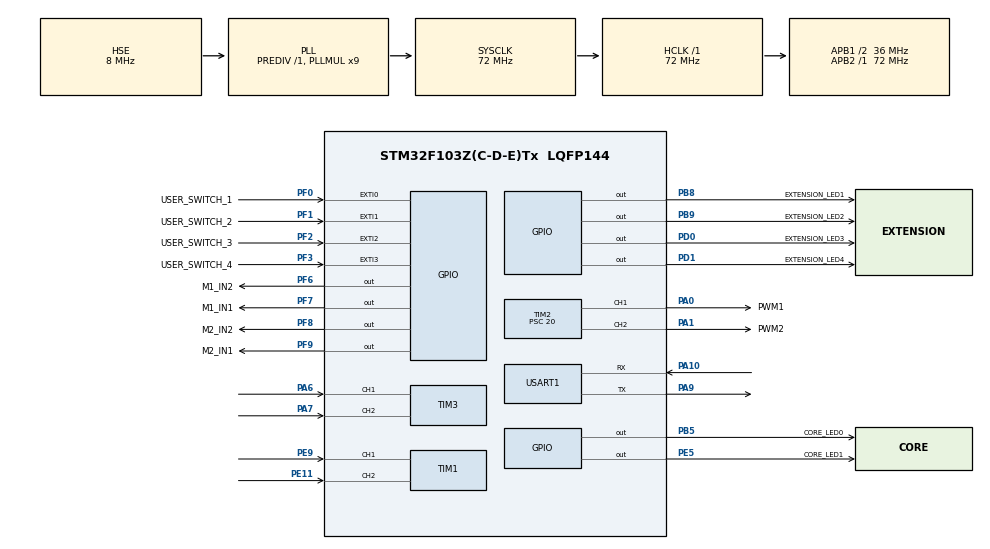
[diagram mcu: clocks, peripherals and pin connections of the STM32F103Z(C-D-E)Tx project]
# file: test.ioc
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Dma.Request0=USART1_RX
Dma.Request1=USART1_TX
Dma.USART1_RX.0.Direction=DMA_PERIPH_TO_MEMORY
Dma.USART1_RX.0.Instance=DMA1_Channel5
Dma.USART1_RX.0.MemDataAlignment=DMA_MDATAALIGN_BYTE
Dma.USART1_RX.0.MemInc=DMA_MINC_ENABLE
Dma.USART1_RX.0.Mode=DMA_CIRCULAR
Dma.USART1_RX.0.PeriphDataAlignment=DMA_PDATAALIGN_BYTE
Dma.USART1_RX.0.PeriphInc=DMA_PINC_DISABLE
Dma.USART1_RX.0.Priority=DMA_PRIORITY_HIGH
Dma.USART1_TX.1.Direction=DMA_MEMORY_TO_PERIPH
Dma.USART1_TX.1.Instance=DMA1_Channel4
Dma.USART1_TX.1.MemDataAlignment=DMA_MDATAALIGN_BYTE
Dma.USART1_TX.1.MemInc=DMA_MINC_ENABLE
Dma.USART1_TX.1.Mode=DMA_NORMAL
Dma.USART1_TX.1.PeriphDataAlignment=DMA_PDATAALIGN_BYTE
Dma.USART1_TX.1.PeriphInc=DMA_PINC_DISABLE
Dma.USART1_TX.1.Priority=DMA_PRIORITY_HIGH
IWDG.Prescaler=IWDG_PRESCALER_256
Mcu.Family=STM32F1
Mcu.Name=STM32F103Z(C-D-E)Tx
Mcu.Package=LQFP144
NVIC.DMA1_Channel4_IRQn=true\:0\:0\:false\:false\:true\:false\:true\:true
NVIC.DMA1_Channel5_IRQn=true\:0\:0\:false\:false\:true\:false\:true\:true
NVIC.EXTI0_IRQn=true\:0\:0\:false\:false\:true\:true\:true\:true
NVIC.EXTI1_IRQn=true\:0\:0\:false\:false\:true\:true\:true\:true
NVIC.EXTI2_IRQn=true\:0\:0\:false\:false\:true\:true\:true\:true
NVIC.EXTI3_IRQn=true\:0\:0\:false\:false\:true\:true\:true\:true
NVIC.PriorityGroup=NVIC_PRIORITYGROUP_4
NVIC.USART1_IRQn=true\:0\:0\:false\:false\:true\:true\:true\:true
OSC_IN.Mode=HSE-External-Oscillator
OSC_IN.Signal=RCC_OSC_IN
OSC_OUT.Mode=HSE-External-Oscillator
OSC_OUT.Signal=RCC_OSC_OUT
PA0-WKUP.GPIO_Label=PWM1
PA0-WKUP.Signal=S_TIM2_CH1_ETR
PA1.GPIO_Label=PWM2
PA1.Signal=S_TIM2_CH2
PA10.Mode=Asynchronous
PA10.Signal=USART1_RX
PA13.Mode=Serial_Wire
PA13.Signal=SYS_JTMS-SWDIO
PA14.Mode=Serial_Wire
PA14.Signal=SYS_JTCK-SWCLK
PA6.Signal=S_TIM3_CH1
PA7.Signal=S_TIM3_CH2
PA9.Mode=Asynchronous
PA9.Signal=USART1_TX
PB5.GPIO_Label=CORE_LED0
PB5.Signal=GPIO_Output
PB8.GPIO_Label=EXTENSION_LED1
PB8.GPIO_ModeDefaultOutputPP=GPIO_MODE_OUTPUT_OD
PB8.GPIO_PuPd=GPIO_NOPULL
PB8.Signal=GPIO_Output
PB9.GPIO_Label=EXTENSION_LED2
PB9.GPIO_ModeDefaultOutputPP=GPIO_MODE_OUTPUT_OD
PB9.GPIO_PuPd=GPIO_NOPULL
PB9.Signal=GPIO_Output
PC14-OSC32_IN.Mode=LSE-External-Oscillator
PC14-OSC32_IN.Signal=RCC_OSC32_IN
PC15-OSC32_OUT.Mode=LSE-External-Oscillator
PC15-OSC32_OUT.Signal=RCC_OSC32_OUT
PD0.GPIO_Label=EXTENSION_LED3
PD0.GPIO_ModeDefaultOutputPP=GPIO_MODE_OUTPUT_OD
PD0.GPIO_PuPd=GPIO_NOPULL
PD0.Signal=GPIO_Output
PD1.GPIO_Label=EXTENSION_LED4
PD1.GPIO_ModeDefaultOutputPP=GPIO_MODE_OUTPUT_OD
PD1.GPIO_PuPd=GPIO_NOPULL
PD1.Signal=GPIO_Output
PE11.Signal=S_TIM1_CH2
PE5.GPIO_Label=CORE_LED1
PE5.Signal=GPIO_Output
PE9.Signal=S_TIM1_CH1
PF0.GPIO_Label=USER_SWITCH_1
PF0.GPIO_ModeDefaultEXTI=GPIO_MODE_IT_FALLING
PF0.Signal=GPXTI0
PF1.GPIO_Label=USER_SWITCH_2
PF1.GPIO_ModeDefaultEXTI=GPIO_MODE_IT_FALLING
PF1.Signal=GPXTI1
PF2.GPIO_Label=USER_SWITCH_3
PF2.GPIO_ModeDefaultEXTI=GPIO_MODE_IT_FALLING
PF2.Signal=GPXTI2
PF3.GPIO_Label=USER_SWITCH_4
PF3.GPIO_ModeDefaultEXTI=GPIO_MODE_IT_FALLING
PF3.Signal=GPXTI3
PF6.GPIO_Label=M1_IN2
PF6.PinState=GPIO_PIN_RESET
PF6.Signal=GPIO_Output
PF7.GPIO_Label=M1_IN1
PF7.PinState=GPIO_PIN_RESET
PF7.Signal=GPIO_Output
PF8.GPIO_Label=M2_IN2
PF8.PinState=GPIO_PIN_RESET
PF8.Signal=GPIO_Output
PF9.GPIO_Label=M2_IN1
PF9.PinState=GPIO_PIN_RESET
PF9.Signal=GPIO_Output
ProjectManager.HeapSize=0x1000
ProjectManager.StackSize=0x800
ProjectManager.TargetToolchain=MDK-ARM V5.32
RCC.AHBFreq_Value=72000000
RCC.APB1CLKDivider=RCC_HCLK_DIV2
RCC.APB1Freq_Value=36000000
RCC.APB1TimFreq_Value=72000000
RCC.APB2Freq_Value=72000000
RCC.APB2TimFreq_Value=72000000
RCC.HCLKFreq_Value=72000000
RCC.PLLMUL=RCC_PLL_MUL9
RCC.PLLSourceVirtual=RCC_PLLSOURCE_HSE
RCC.SYSCLKFreq_VALUE=72000000
RCC.SYSCLKSource=RCC_SYSCLKSOURCE_PLLCLK
RCC.USBFreq_Value=72000000
SH.S_TIM1_CH1.0=TIM1_CH1,Encoder_Interface
SH.S_TIM1_CH2.0=TIM1_CH2,Encoder_Interface
SH.S_TIM2_CH1_ETR.0=TIM2_CH1,PWM Generation1 CH1
SH.S_TIM2_CH2.0=TIM2_CH2,PWM Generation2 CH2
SH.S_TIM3_CH1.0=TIM3_CH1,Encoder_Interface
SH.S_TIM3_CH2.0=TIM3_CH2,Encoder_Interface
TIM1.CounterMode=TIM_COUNTERMODE_UP
TIM2.AutoReloadPreload=TIM_AUTORELOAD_PRELOAD_ENABLE
TIM2.Channel-PWM\ Generation1\ CH1=TIM_CHANNEL_1
TIM2.Channel-PWM\ Generation2\ CH2=TIM_CHANNEL_2
TIM2.OCFastMode_PWM-PWM\ Generation1\ CH1=TIM_OCFAST_ENABLE
TIM2.OCFastMode_PWM-PWM\ Generation2\ CH2=TIM_OCFAST_ENABLE
TIM2.OCMode_PWM-PWM\ Generation1\ CH1=TIM_OCMODE_PWM1
TIM2.OCMode_PWM-PWM\ Generation2\ CH2=TIM_OCMODE_PWM1
TIM2.Period=3600
TIM2.Prescaler=20
TIM2.Pulse-PWM\ Generation1\ CH1=1800
TIM2.Pulse-PWM\ Generation2\ CH2=1800
TIM3.CounterMode=TIM_COUNTERMODE_UP
USART1.VirtualMode=VM_ASYNC
VP_IWDG_VS_IWDG.Mode=IWDG_Activate
VP_TIM2_VS_ClockSourceINT.Mode=Internal
board=custom

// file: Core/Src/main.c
/* USER CODE BEGIN Header */
/**
  ******************************************************************************
  * @file           : main.c
  * @brief          : Main program body
  ******************************************************************************
  * @attention
  *
  * Copyright (c) 2023 STMicroelectronics.
  * All rights reserved.
  *
  * This software is licensed under terms that can be found in the LICENSE file
  * in the root directory of this software component.
  * If no LICENSE file comes with this software, it is provided AS-IS.
  *
  ******************************************************************************
  */
/* USER CODE END Header */
#include "main.h"

/* USER CODE BEGIN Includes */
#include <stdbool.h>
#include "motor.h"
#include "ros_main.h"

/* USER CODE END Includes */

IWDG_HandleTypeDef hiwdg;

TIM_HandleTypeDef htim1;
TIM_HandleTypeDef htim2;
TIM_HandleTypeDef htim3;

UART_HandleTypeDef huart1;
DMA_HandleTypeDef hdma_usart1_rx;
DMA_HandleTypeDef hdma_usart1_tx;

/* USER CODE BEGIN PV */
motor_group_config_t motor_config;

/* USER CODE END PV */

void SystemClock_Config(void);
static void MX_GPIO_Init(void);
static void MX_DMA_Init(void);
static void MX_TIM2_Init(void);
static void MX_TIM1_Init(void);
static void MX_TIM3_Init(void);
static void MX_USART1_UART_Init(void);
static void MX_IWDG_Init(void);

int main(void)
{
  /* USER CODE BEGIN 1 */
	motor_config_t left_motor_config = {
		.in1port = M1_IN1_GPIO_Port,
		.in2port = M1_IN2_GPIO_Port,
		.enport = PWM1_GPIO_Port,
		.in1pin = M1_IN1_Pin,
		.in2pin = M1_IN2_Pin,
		.enpin  = PWM1_Pin,

		.htim_encoder = &htim1,
		.htim_pwm = &htim2,
		.channel = TIM_CHANNEL_1,
		.reversed = false,
	};

	motor_config_t right_motor_config = {
		.in1port = M2_IN1_GPIO_Port,
		.in2port = M2_IN2_GPIO_Port,
		.enport = PWM2_GPIO_Port,
		.in1pin = M2_IN1_Pin,
		.in2pin = M2_IN2_Pin,
		.enpin  = PWM2_Pin,

		.htim_encoder = &htim3,
		.htim_pwm = &htim2,
		.channel = TIM_CHANNEL_2,
		.reversed = true,
	};

	motor_config.right = &left_motor_config;
	motor_config.left = &right_motor_config;

  /* USER CODE END 1 */

  /* MCU Configuration--------------------------------------------------------*/

  /* Reset of all peripherals, Initializes the Flash interface and the Systick. */
  HAL_Init();

  /* Configure the system clock */
  SystemClock_Config();

  /* Initialize all configured peripherals */
  MX_GPIO_Init();
  MX_DMA_Init();
  MX_TIM2_Init();
  MX_TIM1_Init();
  MX_TIM3_Init();
  MX_USART1_UART_Init();
  MX_IWDG_Init();
  /* USER CODE BEGIN 2 */

	HAL_TIM_PWM_Start(&htim2, TIM_CHANNEL_1);
	HAL_TIM_PWM_Start(&htim2, TIM_CHANNEL_2);
	HAL_TIM_Encoder_Start(&htim1, TIM_CHANNEL_ALL);
	HAL_TIM_Encoder_Start(&htim3, TIM_CHANNEL_ALL);
	// __HAL_TIM_SetCompare(&htim2, TIM_CHANNEL_1, 1800);
	// __HAL_TIM_SetCompare(&htim2, TIM_CHANNEL_2, 1800);
	// motor_set_direction(motor_config.left, MOTOR_DIRECTION_FORWARD);
	// motor_set_direction(motor_config.right, MOTOR_DIRECTION_FORWARD);

	setup();

  /* USER CODE END 2 */

  /* Infinite loop */
  /* USER CODE BEGIN WHILE */
  while (1)
  {
		loop();

    /* USER CODE END WHILE */

  }
}

void SystemClock_Config(void)
{
  RCC_OscInitTypeDef RCC_OscInitStruct = {0};
  RCC_ClkInitTypeDef RCC_ClkInitStruct = {0};

  /** Initializes the RCC Oscillators according to the specified parameters
  * in the RCC_OscInitTypeDef structure.
  */
  RCC_OscInitStruct.OscillatorType = RCC_OSCILLATORTYPE_LSI|RCC_OSCILLATORTYPE_HSE;
  RCC_OscInitStruct.HSEState = RCC_HSE_ON;
  RCC_OscInitStruct.HSEPredivValue = RCC_HSE_PREDIV_DIV1;
  RCC_OscInitStruct.HSIState = RCC_HSI_ON;
  RCC_OscInitStruct.LSIState = RCC_LSI_ON;
  RCC_OscInitStruct.PLL.PLLState = RCC_PLL_ON;
  RCC_OscInitStruct.PLL.PLLSource = RCC_PLLSOURCE_HSE;
  RCC_OscInitStruct.PLL.PLLMUL = RCC_PLL_MUL9;
  if (HAL_RCC_OscConfig(&RCC_OscInitStruct) != HAL_OK)
  {
    Error_Handler();
  }

  /** Initializes the CPU, AHB and APB buses clocks
  */
  RCC_ClkInitStruct.ClockType = RCC_CLOCKTYPE_HCLK|RCC_CLOCKTYPE_SYSCLK
                              |RCC_CLOCKTYPE_PCLK1|RCC_CLOCKTYPE_PCLK2;
  RCC_ClkInitStruct.SYSCLKSource = RCC_SYSCLKSOURCE_PLLCLK;
  RCC_ClkInitStruct.AHBCLKDivider = RCC_SYSCLK_DIV1;
  RCC_ClkInitStruct.APB1CLKDivider = RCC_HCLK_DIV2;
  RCC_ClkInitStruct.APB2CLKDivider = RCC_HCLK_DIV1;

  if (HAL_RCC_ClockConfig(&RCC_ClkInitStruct, FLASH_LATENCY_2) != HAL_OK)
  {
    Error_Handler();
  }
}

static void MX_IWDG_Init(void)
{

  hiwdg.Instance = IWDG;
  hiwdg.Init.Prescaler = IWDG_PRESCALER_256;
  hiwdg.Init.Reload = 4095;
  if (HAL_IWDG_Init(&hiwdg) != HAL_OK)
  {
    Error_Handler();
  }

}

static void MX_TIM1_Init(void)
{

  TIM_Encoder_InitTypeDef sConfig = {0};
  TIM_MasterConfigTypeDef sMasterConfig = {0};

  htim1.Instance = TIM1;
  htim1.Init.Prescaler = 0;
  htim1.Init.CounterMode = TIM_COUNTERMODE_UP;
  htim1.Init.Period = 65535;
  htim1.Init.ClockDivision = TIM_CLOCKDIVISION_DIV1;
  htim1.Init.RepetitionCounter = 0;
  htim1.Init.AutoReloadPreload = TIM_AUTORELOAD_PRELOAD_DISABLE;
  sConfig.EncoderMode = TIM_ENCODERMODE_TI1;
  sConfig.IC1Polarity = TIM_ICPOLARITY_RISING;
  sConfig.IC1Selection = TIM_ICSELECTION_DIRECTTI;
  sConfig.IC1Prescaler = TIM_ICPSC_DIV1;
  sConfig.IC1Filter = 0;
  sConfig.IC2Polarity = TIM_ICPOLARITY_RISING;
  sConfig.IC2Selection = TIM_ICSELECTION_DIRECTTI;
  sConfig.IC2Prescaler = TIM_ICPSC_DIV1;
  sConfig.IC2Filter = 0;
  if (HAL_TIM_Encoder_Init(&htim1, &sConfig) != HAL_OK)
  {
    Error_Handler();
  }
  sMasterConfig.MasterOutputTrigger = TIM_TRGO_RESET;
  sMasterConfig.MasterSlaveMode = TIM_MASTERSLAVEMODE_DISABLE;
  if (HAL_TIMEx_MasterConfigSynchronization(&htim1, &sMasterConfig) != HAL_OK)
  {
    Error_Handler();
  }

}

static void MX_TIM2_Init(void)
{

  TIM_ClockConfigTypeDef sClockSourceConfig = {0};
  TIM_MasterConfigTypeDef sMasterConfig = {0};
  TIM_OC_InitTypeDef sConfigOC = {0};

  htim2.Instance = TIM2;
  htim2.Init.Prescaler = 20;
  htim2.Init.CounterMode = TIM_COUNTERMODE_UP;
  htim2.Init.Period = 3600;
  htim2.Init.ClockDivision = TIM_CLOCKDIVISION_DIV1;
  htim2.Init.AutoReloadPreload = TIM_AUTORELOAD_PRELOAD_ENABLE;
  if (HAL_TIM_Base_Init(&htim2) != HAL_OK)
  {
    Error_Handler();
  }
  sClockSourceConfig.ClockSource = TIM_CLOCKSOURCE_INTERNAL;
  if (HAL_TIM_ConfigClockSource(&htim2, &sClockSourceConfig) != HAL_OK)
  {
    Error_Handler();
  }
  if (HAL_TIM_PWM_Init(&htim2) != HAL_OK)
  {
    Error_Handler();
  }
  sMasterConfig.MasterOutputTrigger = TIM_TRGO_RESET;
  sMasterConfig.MasterSlaveMode = TIM_MASTERSLAVEMODE_DISABLE;
  if (HAL_TIMEx_MasterConfigSynchronization(&htim2, &sMasterConfig) != HAL_OK)
  {
    Error_Handler();
  }
  sConfigOC.OCMode = TIM_OCMODE_PWM1;
  sConfigOC.Pulse = 1800;
  sConfigOC.OCPolarity = TIM_OCPOLARITY_HIGH;
  sConfigOC.OCFastMode = TIM_OCFAST_ENABLE;
  if (HAL_TIM_PWM_ConfigChannel(&htim2, &sConfigOC, TIM_CHANNEL_1) != HAL_OK)
  {
    Error_Handler();
  }
  if (HAL_TIM_PWM_ConfigChannel(&htim2, &sConfigOC, TIM_CHANNEL_2) != HAL_OK)
  {
    Error_Handler();
  }
  HAL_TIM_MspPostInit(&htim2);

}

static void MX_TIM3_Init(void)
{

  TIM_Encoder_InitTypeDef sConfig = {0};
  TIM_MasterConfigTypeDef sMasterConfig = {0};

  htim3.Instance = TIM3;
  htim3.Init.Prescaler = 0;
  htim3.Init.CounterMode = TIM_COUNTERMODE_UP;
  htim3.Init.Period = 65535;
  htim3.Init.ClockDivision = TIM_CLOCKDIVISION_DIV1;
  htim3.Init.AutoReloadPreload = TIM_AUTORELOAD_PRELOAD_DISABLE;
  sConfig.EncoderMode = TIM_ENCODERMODE_TI1;
  sConfig.IC1Polarity = TIM_ICPOLARITY_RISING;
  sConfig.IC1Selection = TIM_ICSELECTION_DIRECTTI;
  sConfig.IC1Prescaler = TIM_ICPSC_DIV1;
  sConfig.IC1Filter = 0;
  sConfig.IC2Polarity = TIM_ICPOLARITY_RISING;
  sConfig.IC2Selection = TIM_ICSELECTION_DIRECTTI;
  sConfig.IC2Prescaler = TIM_ICPSC_DIV1;
  sConfig.IC2Filter = 0;
  if (HAL_TIM_Encoder_Init(&htim3, &sConfig) != HAL_OK)
  {
    Error_Handler();
  }
  sMasterConfig.MasterOutputTrigger = TIM_TRGO_RESET;
  sMasterConfig.MasterSlaveMode = TIM_MASTERSLAVEMODE_DISABLE;
  if (HAL_TIMEx_MasterConfigSynchronization(&htim3, &sMasterConfig) != HAL_OK)
  {
    Error_Handler();
  }

}

static void MX_USART1_UART_Init(void)
{

  huart1.Instance = USART1;
  huart1.Init.BaudRate = 115200;
  huart1.Init.WordLength = UART_WORDLENGTH_8B;
  huart1.Init.StopBits = UART_STOPBITS_1;
  huart1.Init.Parity = UART_PARITY_NONE;
  huart1.Init.Mode = UART_MODE_TX_RX;
  huart1.Init.HwFlowCtl = UART_HWCONTROL_NONE;
  huart1.Init.OverSampling = UART_OVERSAMPLING_16;
  if (HAL_UART_Init(&huart1) != HAL_OK)
  {
    Error_Handler();
  }

}

static void MX_DMA_Init(void)
{

  /* DMA controller clock enable */
  __HAL_RCC_DMA1_CLK_ENABLE();

  /* DMA interrupt init */
  /* DMA1_Channel4_IRQn interrupt configuration */
  HAL_NVIC_SetPriority(DMA1_Channel4_IRQn, 0, 0);
  HAL_NVIC_EnableIRQ(DMA1_Channel4_IRQn);
  /* DMA1_Channel5_IRQn interrupt configuration */
  HAL_NVIC_SetPriority(DMA1_Channel5_IRQn, 0, 0);
  HAL_NVIC_EnableIRQ(DMA1_Channel5_IRQn);

}

static void MX_GPIO_Init(void)
{
  GPIO_InitTypeDef GPIO_InitStruct = {0};

  /* GPIO Ports Clock Enable */
  __HAL_RCC_GPIOE_CLK_ENABLE();
  __HAL_RCC_GPIOC_CLK_ENABLE();
  __HAL_RCC_GPIOF_CLK_ENABLE();
  __HAL_RCC_GPIOA_CLK_ENABLE();
  __HAL_RCC_GPIOD_CLK_ENABLE();
  __HAL_RCC_GPIOB_CLK_ENABLE();

  /*Configure GPIO pin Output Level */
  HAL_GPIO_WritePin(CORE_LED1_GPIO_Port, CORE_LED1_Pin, GPIO_PIN_RESET);

  /*Configure GPIO pin Output Level */
  HAL_GPIO_WritePin(GPIOF, M1_IN2_Pin|M1_IN1_Pin|M2_IN2_Pin|M2_IN1_Pin, GPIO_PIN_RESET);

  /*Configure GPIO pin Output Level */
  HAL_GPIO_WritePin(GPIOD, EXTENSION_LED3_Pin|EXTENSION_LED4_Pin, GPIO_PIN_RESET);

  /*Configure GPIO pin Output Level */
  HAL_GPIO_WritePin(GPIOB, CORE_LED0_Pin|EXTENSION_LED1_Pin|EXTENSION_LED2_Pin, GPIO_PIN_RESET);

  /*Configure GPIO pin : CORE_LED1_Pin */
  GPIO_InitStruct.Pin = CORE_LED1_Pin;
  GPIO_InitStruct.Mode = GPIO_MODE_OUTPUT_PP;
  GPIO_InitStruct.Pull = GPIO_NOPULL;
  GPIO_InitStruct.Speed = GPIO_SPEED_FREQ_LOW;
  HAL_GPIO_Init(CORE_LED1_GPIO_Port, &GPIO_InitStruct);

  /*Configure GPIO pins : USER_SWITCH_1_Pin USER_SWITCH_2_Pin USER_SWITCH_3_Pin USER_SWITCH_4_Pin */
  GPIO_InitStruct.Pin = USER_SWITCH_1_Pin|USER_SWITCH_2_Pin|USER_SWITCH_3_Pin|USER_SWITCH_4_Pin;
  GPIO_InitStruct.Mode = GPIO_MODE_IT_FALLING;
  GPIO_InitStruct.Pull = GPIO_NOPULL;
  HAL_GPIO_Init(GPIOF, &GPIO_InitStruct);

  /*Configure GPIO pins : M1_IN2_Pin M1_IN1_Pin M2_IN2_Pin M2_IN1_Pin */
  GPIO_InitStruct.Pin = M1_IN2_Pin|M1_IN1_Pin|M2_IN2_Pin|M2_IN1_Pin;
  GPIO_InitStruct.Mode = GPIO_MODE_OUTPUT_PP;
  GPIO_InitStruct.Pull = GPIO_NOPULL;
  GPIO_InitStruct.Speed = GPIO_SPEED_FREQ_LOW;
  HAL_GPIO_Init(GPIOF, &GPIO_InitStruct);

  /*Configure GPIO pins : EXTENSION_LED3_Pin EXTENSION_LED4_Pin */
  GPIO_InitStruct.Pin = EXTENSION_LED3_Pin|EXTENSION_LED4_Pin;
  GPIO_InitStruct.Mode = GPIO_MODE_OUTPUT_OD;
  GPIO_InitStruct.Pull = GPIO_NOPULL;
  GPIO_InitStruct.Speed = GPIO_SPEED_FREQ_LOW;
  HAL_GPIO_Init(GPIOD, &GPIO_InitStruct);

  /*Configure GPIO pin : CORE_LED0_Pin */
  GPIO_InitStruct.Pin = CORE_LED0_Pin;
  GPIO_InitStruct.Mode = GPIO_MODE_OUTPUT_PP;
  GPIO_InitStruct.Pull = GPIO_NOPULL;
  GPIO_InitStruct.Speed = GPIO_SPEED_FREQ_LOW;
  HAL_GPIO_Init(CORE_LED0_GPIO_Port, &GPIO_InitStruct);

  /*Configure GPIO pins : EXTENSION_LED1_Pin EXTENSION_LED2_Pin */
  GPIO_InitStruct.Pin = EXTENSION_LED1_Pin|EXTENSION_LED2_Pin;
  GPIO_InitStruct.Mode = GPIO_MODE_OUTPUT_OD;
  GPIO_InitStruct.Pull = GPIO_NOPULL;
  GPIO_InitStruct.Speed = GPIO_SPEED_FREQ_LOW;
  HAL_GPIO_Init(GPIOB, &GPIO_InitStruct);

  /* EXTI interrupt init*/
  HAL_NVIC_SetPriority(EXTI0_IRQn, 0, 0);
  HAL_NVIC_EnableIRQ(EXTI0_IRQn);

  HAL_NVIC_SetPriority(EXTI1_IRQn, 0, 0);
  HAL_NVIC_EnableIRQ(EXTI1_IRQn);

  HAL_NVIC_SetPriority(EXTI2_IRQn, 0, 0);
  HAL_NVIC_EnableIRQ(EXTI2_IRQn);

  HAL_NVIC_SetPriority(EXTI3_IRQn, 0, 0);
  HAL_NVIC_EnableIRQ(EXTI3_IRQn);

}

void Error_Handler(void)
{
  __disable_irq();
  while (1)
  {
  }
}
